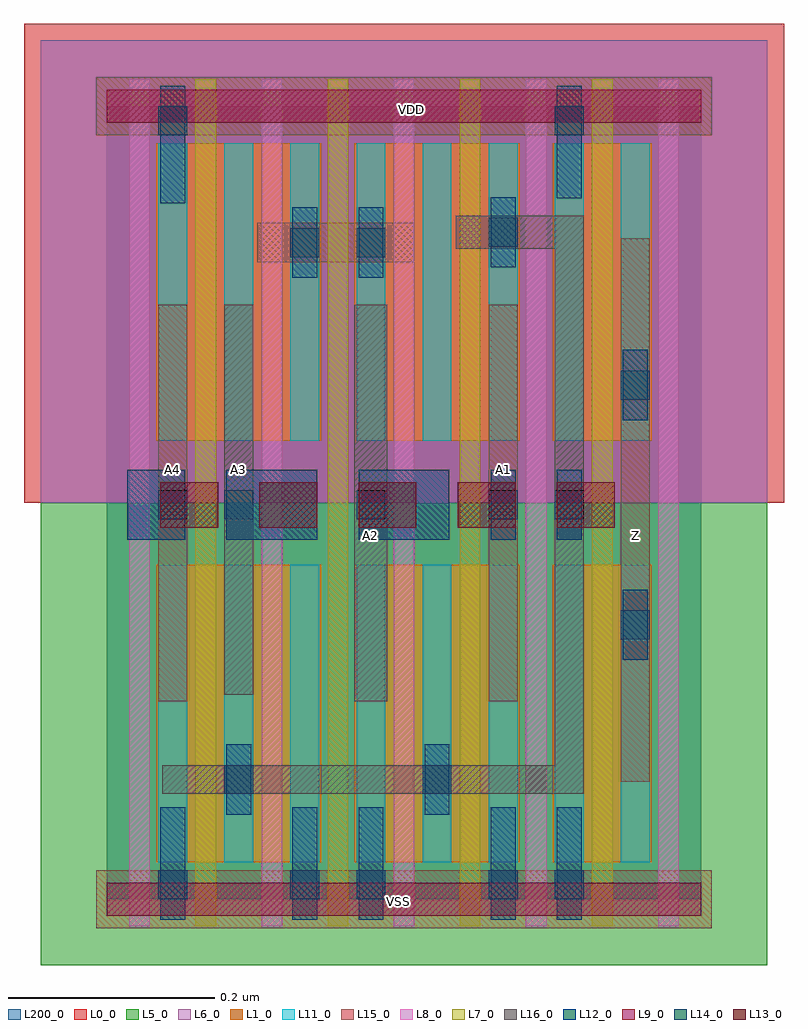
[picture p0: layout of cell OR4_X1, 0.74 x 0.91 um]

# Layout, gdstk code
import gdstk
lib = gdstk.Library(unit=1e-6, precision=1e-09)
def R(c, l, rs):  # rectangles x0, y0, x1, y1
    for r in rs: c.add(gdstk.rectangle(r[:2], r[2:], *l))
def A(c, l, x, y, w, h, nx, ny, dx, dy):  # array of equal rectangles
    R(c, l, [(x+i*dx, y+j*dy, x+i*dx+w, y+j*dy+h) for i in range(nx) for j in range(ny)])
def P(c, l, *ps):  # polygons
    for p in ps: c.add(gdstk.Polygon(p, *l))
L0_0 = (0, 0)
L1_0 = (1, 0)
L5_0 = (5, 0)
L6_0 = (6, 0)
L7_0 = (7, 0)
L8_0 = (8, 0)
L9_0 = (9, 0)
L11_0 = (11, 0)
L12_0 = (12, 0)
L13_0 = (13, 0)
L14_0 = (14, 0)
L15_0 = (15, 0)
L16_0 = (16, 0)
L200_0 = (200, 0)

or4_x1 = lib.new_cell('OR4_X1')
R(or4_x1, L0_0, [(-0.08,0.384,0.656,0.848)])
R(or4_x1, L1_0, [(0.048,0.036,0.208,0.324), (0.24,0.036,0.4,0.324), (0.432,0.036,0.528,0.324), (0.048,0.444,0.208,0.732), (0.24,0.444,0.4,0.732), (0.432,0.444,0.528,0.732)])
R(or4_x1, L5_0, [(-0.064,-0.064,0.64,0.384)])
R(or4_x1, L6_0, [(-0.064,0.384,0.64,0.832)])
A(or4_x1, L7_0, 0.086, -0.026, 0.02, 0.82, 4, 1, 0.128, 0)
A(or4_x1, L8_0, 0.022, -0.026, 0.02, 0.82, 5, 1, 0.128, 0)
R(or4_x1, L9_0, [(0,-0.016,0.576,0.016), (0,0.752,0.576,0.784)])
A(or4_x1, L11_0, 0.05, 0.036, 0.028, 0.288, 8, 2, 0.064, 0.408)
R(or4_x1, L12_0, [(0.052,-0.02,0.076,0.089), (0.18,-0.02,0.204,0.089), (0.244,-0.02,0.268,0.089), (0.372,-0.02,0.396,0.089), (0.436,-0.02,0.46,0.089), (0.116,0.082,0.14,0.15), (0.308,0.082,0.332,0.15), (0.5,0.232,0.524,0.3), (0.02,0.348,0.076,0.416), (0.116,0.348,0.204,0.416), (0.244,0.348,0.332,0.416), (0.372,0.348,0.396,0.416), (0.436,0.348,0.46,0.416), (0.5,0.464,0.524,0.532), (0.18,0.602,0.204,0.67), (0.244,0.602,0.268,0.67), (0.372,0.612,0.396,0.68), (0.052,0.674,0.076,0.788), (0.436,0.679,0.46,0.788)])
A(or4_x1, L13_0, 0.052, 0.36, 0.056, 0.044, 5, 1, 0.096, 0)
A(or4_x1, L14_0, 0.114, 0.368, 0.028, 0.028, 3, 1, 0.128, 0)
R(or4_x1, L14_0, [(0.05,0,0.078,0.028), (0.178,0,0.206,0.028), (0.242,0,0.27,0.028), (0.37,0,0.398,0.028), (0.434,0,0.462,0.028), (0.114,0.102,0.142,0.13), (0.306,0.102,0.334,0.13), (0.498,0.252,0.526,0.28), (0.05,0.368,0.078,0.396), (0.434,0.368,0.462,0.396), (0.498,0.484,0.526,0.512), (0.178,0.622,0.206,0.65), (0.242,0.622,0.27,0.65), (0.37,0.632,0.398,0.66), (0.05,0.74,0.078,0.768), (0.434,0.74,0.462,0.768)])
R(or4_x1, L15_0, [(-0.01,-0.028,0.586,0.028), (0.498,0.114,0.526,0.64), (0.05,0.192,0.078,0.576), (0.37,0.192,0.398,0.576), (0.146,0.617,0.298,0.655), (-0.01,0.74,0.586,0.796)])
R(or4_x1, L16_0, [(0.24,0.192,0.272,0.576), (0.114,0.198,0.142,0.576)])
P(or4_x1, L16_0, [(0.338,0.63),(0.434,0.63),(0.434,0.13),(0.054,0.13),(0.054,0.102),(0.462,0.102),(0.462,0.662),(0.338,0.662)])
R(or4_x1, L200_0, [(0,0,0.576,0.768)])
or4_x1.add(gdstk.Label('VSS', (0.283,-0.002), layer=15, texttype=20))
or4_x1.add(gdstk.Label('A4', (0.064,0.416), layer=15, texttype=20))
or4_x1.add(gdstk.Label('A1', (0.384,0.416), layer=15, texttype=20))
or4_x1.add(gdstk.Label('Z', (0.512,0.352), layer=15, texttype=20))
or4_x1.add(gdstk.Label('VDD', (0.295,0.765), layer=15, texttype=20))
or4_x1.add(gdstk.Label('A3', (0.128,0.416), layer=16, texttype=20))
or4_x1.add(gdstk.Label('A2', (0.256,0.352), layer=16, texttype=20))

lib.write_gds('OR4_X1.gds')
